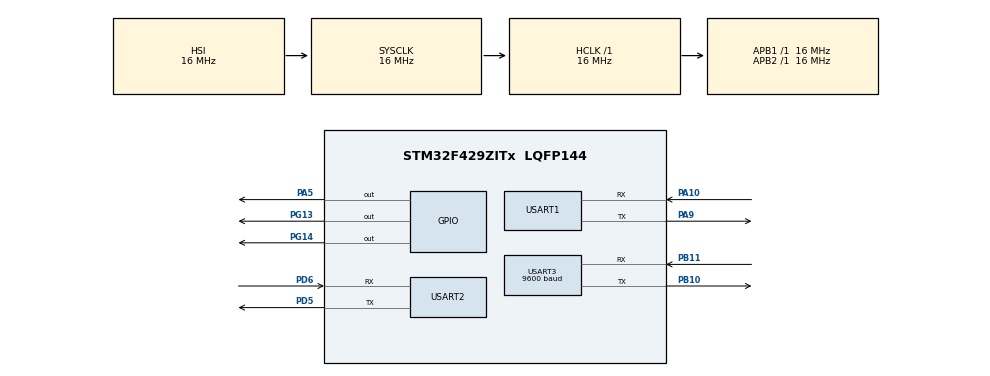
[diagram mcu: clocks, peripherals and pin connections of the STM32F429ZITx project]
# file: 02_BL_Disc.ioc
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FREERTOS.Mutexes01=Mutex1,Dynamic,NULL
FREERTOS.Tasks01=defaultTask,0,128,StartDefaultTask,Default,NULL,Dynamic,NULL,NULL;Task2,0,128,Task2_init,Default,NULL,Dynamic,NULL,NULL;Task3,-3,128,Task3_init,Default,NULL,Dynamic,NULL,NULL
FREERTOS.configUSE_IDLE_HOOK=1
FREERTOS.configUSE_TICKLESS_IDLE=1
Mcu.Family=STM32F4
Mcu.Name=STM32F429ZITx
Mcu.Package=LQFP144
NVIC.FLASH_IRQn=true\:5\:0\:false\:false\:true\:true\:true\:true\:true
NVIC.FPU_IRQn=true\:5\:0\:false\:false\:true\:true\:true\:false\:true
NVIC.PVD_IRQn=true\:5\:0\:false\:false\:true\:true\:true\:true\:true
NVIC.PriorityGroup=NVIC_PRIORITYGROUP_4
NVIC.RCC_IRQn=true\:5\:0\:false\:false\:true\:true\:true\:false\:true
NVIC.TIM1_UP_TIM10_IRQn=true\:15\:0\:false\:false\:true\:false\:false\:true\:true
NVIC.TimeBase=TIM1_UP_TIM10_IRQn
NVIC.TimeBaseIP=TIM1
NVIC.USART1_IRQn=true\:5\:0\:false\:false\:true\:true\:true\:true\:true
NVIC.USART2_IRQn=true\:5\:0\:false\:false\:true\:true\:true\:true\:true
NVIC.USART3_IRQn=true\:5\:0\:false\:false\:true\:true\:true\:true\:true
PA10.Mode=Asynchronous
PA10.Signal=USART1_RX
PA5.Signal=GPIO_Output
PA9.Mode=Asynchronous
PA9.Signal=USART1_TX
PB10.Mode=Asynchronous
PB10.Signal=USART3_TX
PB11.Mode=Asynchronous
PB11.Signal=USART3_RX
PC14/OSC32_IN.Mode=LSE-External-Oscillator
PC14/OSC32_IN.Signal=RCC_OSC32_IN
PC15/OSC32_OUT.Mode=LSE-External-Oscillator
PC15/OSC32_OUT.Signal=RCC_OSC32_OUT
PD5.Mode=Asynchronous
PD5.Signal=USART2_TX
PD6.Mode=Asynchronous
PD6.Signal=USART2_RX
PG13.Signal=GPIO_Output
PG14.Signal=GPIO_Output
PH0/OSC_IN.Mode=HSE-External-Oscillator
PH0/OSC_IN.Signal=RCC_OSC_IN
PH1/OSC_OUT.Mode=HSE-External-Oscillator
PH1/OSC_OUT.Signal=RCC_OSC_OUT
ProjectManager.HeapSize=0x200
ProjectManager.StackSize=0x400
ProjectManager.TargetToolchain=STM32CubeIDE
RCC.AHBFreq_Value=16000000
RCC.APB1Freq_Value=16000000
RCC.APB2Freq_Value=16000000
RCC.CortexFreq_Value=16000000
RCC.HSE_VALUE=25000000
RCC.HSI_VALUE=16000000
RCC.SYSCLKFreq_VALUE=16000000
RCC.VCOOutputFreq_Value=192000000
USART1.VirtualMode=VM_ASYNC
USART2.VirtualMode=VM_ASYNC
USART3.BaudRate=9600
USART3.VirtualMode=VM_ASYNC
VP_CRC_VS_CRC.Mode=CRC_Activate
VP_FREERTOS_VS_CMSIS_V1.Mode=CMSIS_V1
VP_SYS_VS_tim1.Mode=TIM1
board=custom

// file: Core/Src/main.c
/* USER CODE BEGIN Header */
/**
  ******************************************************************************
  * @file           : main.c
  * @brief          : Main program body
  ******************************************************************************
  * @attention
  *
  * Copyright (c) 2024 STMicroelectronics.
  * All rights reserved.
  *
  * This software is licensed under terms that can be found in the LICENSE file
  * in the root directory of this software component.
  * If no LICENSE file comes with this software, it is provided AS-IS.
  *
  ******************************************************************************
  */
/* USER CODE END Header */
#include "main.h"
#include "cmsis_os.h"
#include "crc.h"
#include "usart.h"
#include "gpio.h"

void SystemClock_Config(void);
void MX_FREERTOS_Init(void);

/* USER CODE BEGIN 0 */
uint32_t Validity_Marker __attribute__((section(".marker_data")))=0xA0A0;
/* USER CODE END 0 */

//volatile uint8_t indecator_Var, dummy;
char page_command[] = "page page2"; // or "page Temp"
uint8_t end_command[] = {0xFF, 0xFF, 0xFF};

// Transmit "page 1" command

int main(void)
{

  /* MCU Configuration--------------------------------------------------------*/

  /* Reset of all peripherals, Initializes the Flash interface and the Systick. */
  HAL_Init();

  /* Configure the system clock */
  SystemClock_Config();

  /* Initialize all configured peripherals */
  MX_GPIO_Init();
  MX_USART2_UART_Init();
  MX_USART1_UART_Init();
  MX_CRC_Init();
  MX_USART3_UART_Init();

  /* Call init function for freertos objects (in freertos.c) */
  MX_FREERTOS_Init();

  /* Start scheduler */
  osKernelStart();

  /* We should never get here as control is now taken by the scheduler */
  /* Infinite loop */
  /* USER CODE BEGIN WHILE */

//  HAL_UART_Receive_IT(&huart1, &RecVal, 1);
//  HAL_UART_Transmit(&huart3, (uint8_t*)page_command, strlen(page_command), HAL_MAX_DELAY);

  // Transmit end command
//  HAL_UART_Transmit(&huart3, end_command, sizeof(end_command), HAL_MAX_DELAY);

 // toggleBankAndReset() ;

  while (1)
  {
    /* USER CODE END WHILE */

    /* USER CODE BEGIN 3 */
//
////	  HAL_UART_Receive(&huart3, &indecator_Var, 1, HAL_MAX_DELAY);
////	    				if (0x7F == indecator_Var)
////	    				    BL_UART_Fetch_Host_Command();
//
//	   HAL_UART_Receive(&huart3, &indecator_Var, 1, HAL_MAX_DELAY);
//		  	    if (0x7F == indecator_Var)
//		  	     BL_UART_Fetch_Host_Command();

	//  void toggleBankAndReset() ;

  }
  /* USER CODE END 3 */
}

void SystemClock_Config(void)
{
  RCC_OscInitTypeDef RCC_OscInitStruct = {0};
  RCC_ClkInitTypeDef RCC_ClkInitStruct = {0};

  /** Configure the main internal regulator output voltage
  */
  __HAL_RCC_PWR_CLK_ENABLE();
  __HAL_PWR_VOLTAGESCALING_CONFIG(PWR_REGULATOR_VOLTAGE_SCALE3);

  /** Initializes the RCC Oscillators according to the specified parameters
  * in the RCC_OscInitTypeDef structure.
  */
  RCC_OscInitStruct.OscillatorType = RCC_OSCILLATORTYPE_HSI;
  RCC_OscInitStruct.HSIState = RCC_HSI_ON;
  RCC_OscInitStruct.HSICalibrationValue = RCC_HSICALIBRATION_DEFAULT;
  RCC_OscInitStruct.PLL.PLLState = RCC_PLL_NONE;
  if (HAL_RCC_OscConfig(&RCC_OscInitStruct) != HAL_OK)
  {
    Error_Handler();
  }

  /** Initializes the CPU, AHB and APB buses clocks
  */
  RCC_ClkInitStruct.ClockType = RCC_CLOCKTYPE_HCLK|RCC_CLOCKTYPE_SYSCLK
                              |RCC_CLOCKTYPE_PCLK1|RCC_CLOCKTYPE_PCLK2;
  RCC_ClkInitStruct.SYSCLKSource = RCC_SYSCLKSOURCE_HSI;
  RCC_ClkInitStruct.AHBCLKDivider = RCC_SYSCLK_DIV1;
  RCC_ClkInitStruct.APB1CLKDivider = RCC_HCLK_DIV1;
  RCC_ClkInitStruct.APB2CLKDivider = RCC_HCLK_DIV1;

  if (HAL_RCC_ClockConfig(&RCC_ClkInitStruct, FLASH_LATENCY_0) != HAL_OK)
  {
    Error_Handler();
  }
}

void HAL_TIM_PeriodElapsedCallback(TIM_HandleTypeDef *htim)
{
  if (htim->Instance == TIM1) {
    HAL_IncTick();
  }
}

void Error_Handler(void)
{
  __disable_irq();
  while (1)
  {
  }
}

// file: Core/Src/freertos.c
/* USER CODE BEGIN Header */
/**
  ******************************************************************************
  * File Name          : freertos.c
  * Description        : Code for freertos applications
  ******************************************************************************
  * @attention
  *
  * Copyright (c) 2024 STMicroelectronics.
  * All rights reserved.
  *
  * This software is licensed under terms that can be found in the LICENSE file
  * in the root directory of this software component.
  * If no LICENSE file comes with this software, it is provided AS-IS.
  *
  ******************************************************************************
  */
/* USER CODE END Header */

#include "FreeRTOS.h"
#include "task.h"
#include "main.h"
#include "cmsis_os.h"
#include "usart.h"

/* USER CODE BEGIN PTD */
SemaphoreHandle_t SimpleMutex;

/* USER CODE END PTD */

osThreadId defaultTaskHandle;
osThreadId Task2Handle;
osThreadId Task3Handle;
osMutexId Mutex1Handle;

/* USER CODE BEGIN FunctionPrototypes */
//volatile uint8_t indecator_Var, dummy;
/* USER CODE END FunctionPrototypes */

void StartDefaultTask(void const * argument);
void Task2_init(void const * argument);
void Task3_init(void const * argument);

void MX_FREERTOS_Init(void); /* (MISRA C 2004 rule 8.1) */

/* GetIdleTaskMemory prototype (linked to static allocation support) */
void vApplicationGetIdleTaskMemory( StaticTask_t **ppxIdleTaskTCBBuffer, StackType_t **ppxIdleTaskStackBuffer, uint32_t *pulIdleTaskStackSize );

/* Hook prototypes */
void vApplicationIdleHook(void);

/* USER CODE BEGIN 2 */

volatile uint8_t indecator_Var, dummy;
volatile uint8_t RecVal;
volatile uint8_t FIRMWARE_UPDATE_TRIGGER = 0x7F;
__weak void vApplicationIdleHook( void )
{
   /* vApplicationIdleHook() will only be called if configUSE_IDLE_HOOK is set
   to 1 in FreeRTOSConfig.h. It will be called on each iteration of the idle
   task. It is essential that code added to this hook function never attempts
   to block in any way (for example, call xQueueReceive() with a block time
   specified, or call vTaskDelay()). If the application makes use of the
   vTaskDelete() API function (as this demo application does) then it is also
   important that vApplicationIdleHook() is permitted to return to its calling
   function, because it is the responsibility of the idle task to clean up
   memory allocated by the kernel to any task that has since been deleted. */
//
	  HAL_UART_Receive_IT(&huart1, &RecVal, 1);
	   HAL_UART_Receive(&huart3, &indecator_Var, 1, HAL_MAX_DELAY);
	  	    if (0x7F == indecator_Var)
	  	     BL_UART_Fetch_Host_Command();

}
/* USER CODE END 2 */

/* USER CODE BEGIN PREPOSTSLEEP */
__weak void PreSleepProcessing(uint32_t ulExpectedIdleTime)
{
/* place for user code */
}

__weak void PostSleepProcessing(uint32_t ulExpectedIdleTime)
{
/* place for user code */
}
/* USER CODE END PREPOSTSLEEP */

/* USER CODE BEGIN GET_IDLE_TASK_MEMORY */
static StaticTask_t xIdleTaskTCBBuffer;
static StackType_t xIdleStack[configMINIMAL_STACK_SIZE];

void vApplicationGetIdleTaskMemory( StaticTask_t **ppxIdleTaskTCBBuffer, StackType_t **ppxIdleTaskStackBuffer, uint32_t *pulIdleTaskStackSize )
{
  *ppxIdleTaskTCBBuffer = &xIdleTaskTCBBuffer;
  *ppxIdleTaskStackBuffer = &xIdleStack[0];
  *pulIdleTaskStackSize = configMINIMAL_STACK_SIZE;
  /* place for user code */
}
/* USER CODE END GET_IDLE_TASK_MEMORY */

void MX_FREERTOS_Init(void) {
  /* Create the mutex(es) */
  /* definition and creation of Mutex1 */
  osMutexDef(Mutex1);
  Mutex1Handle = osMutexCreate(osMutex(Mutex1));

  /* Create the thread(s) */
  /* definition and creation of defaultTask */
//  osThreadDef(defaultTask, StartDefaultTask, osPriorityNormal, 0, 128);
//  defaultTaskHandle = osThreadCreate(osThread(defaultTask), NULL);

  /* definition and creation of Task2 */
//  osThreadDef(Task2, Task2_init, 2, 0, 128);
//  Task2Handle = osThreadCreate(osThread(Task2), NULL);

  /* definition and creation of Task3 */
  osThreadDef(Task3, Task3_init, 1, 0, 128);
  Task3Handle = osThreadCreate(osThread(Task3), NULL);

}

void StartDefaultTask(void const * argument)
{
  /* USER CODE BEGIN StartDefaultTask */
  /* Infinite loop */
  for(;;)
  {
   HAL_UART_Receive_IT(&huart3, &RecVal, 1);
   HAL_UART_Receive(&huart1, &indecator_Var, 1, HAL_MAX_DELAY);
  	    if (0x7F == indecator_Var)
  	     BL_UART_Fetch_Host_Command();
  }
  /* USER CODE END StartDefaultTask */
}

void Task2_init(void const * argument)
{
  /* USER CODE BEGIN Task2_init */
  for(;;)
  {
    HAL_GPIO_TogglePin(GPIOG, GPIO_PIN_13);
    osDelay(300); // Delay to ensure some runtime for DefaultTask
  }
  /* USER CODE END Task2_init */
}

void Task3_init(void const * argument)
{
  /* USER CODE BEGIN Task3_init */
  /* Infinite loop */
  for(;;)
  {

	      HAL_GPIO_TogglePin(GPIOG, GPIO_PIN_14);
	      osDelay(100); // Delay to ensure some runtime for DefaultTask
  }
  /* USER CODE END Task3_init */
}

/* USER CODE BEGIN Application */
void HAL_UART_RxCpltCallback(UART_HandleTypeDef *huart) {
//    UNUSED(huart);

    	HAL_UART_Receive_IT(&huart1, &RecVal, 1);
//    			    if (0x7F == RecVal)
//    			    {
//    						  /* Send Acknowledge */
////    						  uint8_t ackValue = 0xCD;
////    						  HAL_UART_Transmit(&huart1, &ackValue, 1, HAL_MAX_DELAY);
////    						  /* System reset (Jump to Bootloader) */
////    						  HAL_NVIC_SystemReset();
//    			    	HAL_GPIO_TogglePin(GPIOG, GPIO_PIN_14);
//    				 }

    			    if (RecVal == 0x66)
    			    { // Example command byte from ESP
    			   	            // get active bank here..

    			   	            uint8_t mode = get_Active_Bank_no();
    			   	            HAL_UART_Transmit(&huart1, &mode, 1, 10); // Send  active bank
    			   	            HAL_GPIO_TogglePin(GPIOG, GPIO_PIN_13);
    			   	 }

    			    if (RecVal == 0x8C)
    			     {
    			    	toggleBankAndReset();
    			     }

    			    if (RecVal == 0x4C)
    			     {
    			    	/*  check validity marker  */
    			    	check_ValidityMarker();
    			     }

}
/* USER CODE END Application */
